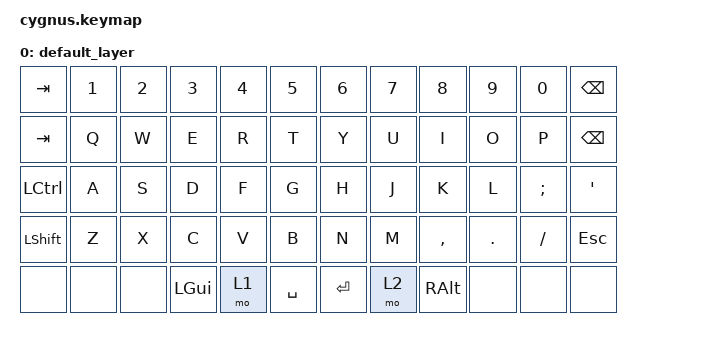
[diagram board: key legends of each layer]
#include <behaviors.dtsi>
#include <dt-bindings/zmk/keys.h>

/ {
    keymap {
        compatible = "zmk,keymap";

        default_layer {
            bindings = <
                &kp TAB &kp N1 &kp N2 &kp N3 &kp N4 &kp N5 &kp N6 &kp N7 &kp N8 &kp N9 &kp N0 &kp BSPC
                &kp TAB &kp Q  &kp W  &kp E  &kp R  &kp T  &kp Y  &kp U  &kp I  &kp O  &kp P  &kp BSPC
                &kp LCTRL &kp A &kp S &kp D &kp F &kp G &kp H &kp J &kp K &kp L &kp SEMI &kp SQT
                &kp LSHFT &kp Z &kp X &kp C &kp V &kp B &kp N &kp M &kp COMMA &kp DOT &kp FSLH &kp ESC
                &none &none &none &kp LGUI &mo 1 &kp SPACE &kp RET &mo 2 &kp RALT &none &none &none
            >;
        };
    };
};
